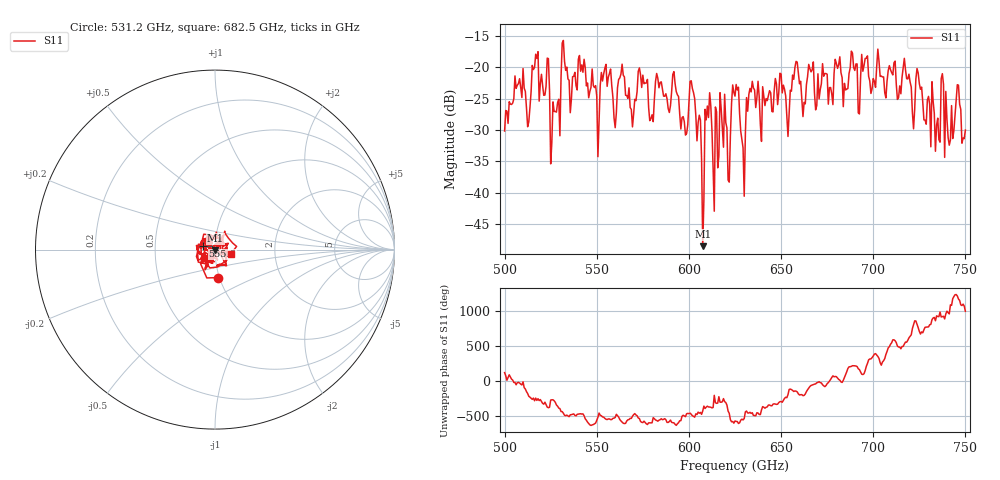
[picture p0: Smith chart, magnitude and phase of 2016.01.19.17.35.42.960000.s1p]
!Created with skrf (http://scikit-rf.org).
# GHz S RI R 50.0
!freq ReS11 ImS11
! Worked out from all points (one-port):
!   401 points, 500 GHz to 750 GHz, reference 50 ohm
!   lowest |S11| = -48.5 dB at 607.5 GHz (marker M1), VSWR 1.01, Z = 50.1 - j0.359 ohm
!   |S11| at or under -10 dB: start of sweep to end of sweep
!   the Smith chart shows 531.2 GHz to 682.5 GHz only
!   S11 on the Smith chart (normalised r, x): 531.2 GHz: 0.99, -0.32; 555.6 GHz: 0.87, +0.04; 682.5 GHz: 1.19, -0.06
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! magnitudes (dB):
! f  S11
! 500 GHz  -30.1
! 506.9 GHz  -22.8
! 513.1 GHz  -28.7
! 516.9 GHz  -17.9
! 526.2 GHz  -25.5
! 531.2 GHz  -16.1
! 550 GHz  -24.6
! 555.6 GHz  -23.0
! 560 GHz  -29.6
! 562.5 GHz  -21.7
! 569.4 GHz  -29.5
! 573.8 GHz  -21.2
! 579.4 GHz  -28.2
! 583.1 GHz  -21.7
! 593.8 GHz  -24.4
! 598.1 GHz  -30.8
! 601.9 GHz  -23.4
! 607.5 GHz  -48.5
! 610 GHz  -26.2
! 621.2 GHz  -38.0
! 625 GHz  -24.6
! 629.4 GHz  -32.8
! 633.8 GHz  -23.9
! 656.2 GHz  -21.2
! 682.5 GHz  -20.8
! 687.5 GHz  -20.1
! 718.8 GHz  -21.8
! 750 GHz  -30.0
